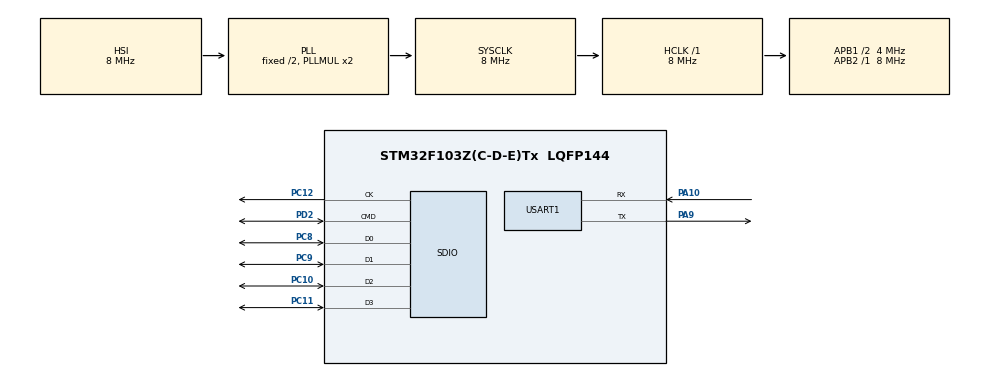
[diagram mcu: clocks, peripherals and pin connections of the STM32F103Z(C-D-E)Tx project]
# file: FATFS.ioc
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Mcu.Family=STM32F1
Mcu.Name=STM32F103Z(C-D-E)Tx
Mcu.Package=LQFP144
NVIC.PriorityGroup=NVIC_PRIORITYGROUP_4
PA10.Mode=Asynchronous
PA10.Signal=USART1_RX
PA9.Mode=Asynchronous
PA9.Signal=USART1_TX
PC10.Mode=SD_4_bits_Wide_bus
PC10.Signal=SDIO_D2
PC11.Mode=SD_4_bits_Wide_bus
PC11.Signal=SDIO_D3
PC12.Mode=SD_4_bits_Wide_bus
PC12.Signal=SDIO_CK
PC8.Mode=SD_4_bits_Wide_bus
PC8.Signal=SDIO_D0
PC9.Mode=SD_4_bits_Wide_bus
PC9.Signal=SDIO_D1
PD2.Mode=SD_4_bits_Wide_bus
PD2.Signal=SDIO_CMD
ProjectManager.HeapSize=0x400
ProjectManager.StackSize=0x800
ProjectManager.TargetToolchain=MDK-ARM V5
RCC.AHBFreq_Value=8000000
RCC.APB1CLKDivider=RCC_HCLK_DIV2
RCC.APB1Freq_Value=4000000
RCC.APB1TimFreq_Value=8000000
RCC.APB2Freq_Value=8000000
RCC.APB2TimFreq_Value=8000000
RCC.HCLKFreq_Value=8000000
RCC.SYSCLKFreq_VALUE=8000000
RCC.SYSCLKSource=RCC_SYSCLKSOURCE_PLLCLK
RCC.USBFreq_Value=8000000
SDIO.BusWide=SDIO_BUS_WIDE_1B
SDIO.ClockDiv=2
SDIO.WideMode=SDIO_BUS_WIDE_4B
VP_FATFS_VS_SDIO.Mode=SDIO
VP_SYS_VS_ND.Mode=No_Debug
board=FATFS

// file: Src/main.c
/**
  ******************************************************************************
  * File Name          : main.c
  * Description        : Main program body
  ******************************************************************************
  *
  * Copyright (c) 2016 STMicroelectronics International N.V.
  * All rights reserved.
  *
  * Redistribution and use in source and binary forms, with or without
  * modification, are permitted, provided that the following conditions are met:
  *
  * 1. Redistribution of source code must retain the above copyright notice,
  *    this list of conditions and the following disclaimer.
  * 2. Redistributions in binary form must reproduce the above copyright notice,
  *    this list of conditions and the following disclaimer in the documentation
  *    and/or other materials provided with the distribution.
  * 3. Neither the name of STMicroelectronics nor the names of other
  *    contributors to this software may be used to endorse or promote products
  *    derived from this software without specific written permission.
  * 4. This software, including modifications and/or derivative works of this
  *    software, must execute solely and exclusively on microcontroller or
  *    microprocessor devices manufactured by or for STMicroelectronics.
  * 5. Redistribution and use of this software other than as permitted under
  *    this license is void and will automatically terminate your rights under
  *    this license.
  *
  * THIS SOFTWARE IS PROVIDED BY STMICROELECTRONICS AND CONTRIBUTORS "AS IS"
  * AND ANY EXPRESS, IMPLIED OR STATUTORY WARRANTIES, INCLUDING, BUT NOT
  * LIMITED TO, THE IMPLIED WARRANTIES OF MERCHANTABILITY, FITNESS FOR A
  * PARTICULAR PURPOSE AND NON-INFRINGEMENT OF THIRD PARTY INTELLECTUAL PROPERTY
  * RIGHTS ARE DISCLAIMED TO THE FULLEST EXTENT PERMITTED BY LAW. IN NO EVENT
  * SHALL STMICROELECTRONICS OR CONTRIBUTORS BE LIABLE FOR ANY DIRECT, INDIRECT,
  * INCIDENTAL, SPECIAL, EXEMPLARY, OR CONSEQUENTIAL DAMAGES (INCLUDING, BUT NOT
  * LIMITED TO, PROCUREMENT OF SUBSTITUTE GOODS OR SERVICES; LOSS OF USE, DATA,
  * OR PROFITS; OR BUSINESS INTERRUPTION) HOWEVER CAUSED AND ON ANY THEORY OF
  * LIABILITY, WHETHER IN CONTRACT, STRICT LIABILITY, OR TORT (INCLUDING
  * NEGLIGENCE OR OTHERWISE) ARISING IN ANY WAY OUT OF THE USE OF THIS SOFTWARE,
  * EVEN IF ADVISED OF THE POSSIBILITY OF SUCH DAMAGE.
  *
  ******************************************************************************
  */
#include "main.h"
#include "stm32f1xx_hal.h"
#include "fatfs.h"
#include "sdio.h"
#include "usart.h"
#include "gpio.h"

/* USER CODE BEGIN Includes */
#include <string.h>
/* USER CODE END Includes */

/* USER CODE BEGIN PV */
/* Private variables ------------------------------------------*/
FATFS SDFatFs; /* File system object for SD card logical drive */
FIL MyFile; /* File object */
const char wtext[] = "Hello World!";
/* USER CODE END PV */

void SystemClock_Config(void);
void Error_Handler(void);

/* USER CODE BEGIN PFP */
/* Private function prototypes -----------------------------------------------*/

/* USER CODE END PFP */

int main(void)
{

  /* USER CODE BEGIN 1 */
  FRESULT res; /* FatFs function common result code */
  uint32_t byteswritten, bytesread; /* File write/read counts */
  char rtext[256]; /* File read buffer */
  /* USER CODE END 1 */

  /* MCU Configuration----------------------------------------------------------*/

  /* Reset of all peripherals, Initializes the Flash interface and the Systick. */
  HAL_Init();

  /* Configure the system clock */
  SystemClock_Config();

  /* Initialize all configured peripherals */
  MX_GPIO_Init();
  MX_USART1_UART_Init();
  MX_SDIO_SD_Init();
  MX_FATFS_Init();

  /* USER CODE BEGIN 2 */

  /*##-1- FatFS: Link the SD disk I/O driver ##*/
  if(retSD == 0){
    printf("\r\nSuccess: Link the SD disk I/O driver\r\n");

    /*##-2- Register the file system object to the FatFs module ##*/
    if(f_mount(&SDFatFs, (TCHAR const*)SD_Path, 0) != FR_OK) {
      printf("\r\nError: Register the file system object to the FatFs module\r\n");
      while(1);
    }

    /*##-3- Create a FAT file system (format) on the logical drive ##*/
    /* WARNING: Formatting the uSD card will delete all content on the device */
    if(f_mkfs((TCHAR const*)SD_Path, 0, 0) != FR_OK) {
      /* FatFs Format Error */
      printf("\r\nFormat Error.");
      while(1);
    }
    printf("\r\nSuccess: format the SD card.\r\n");

    /* Dynamic allocation is used when new file should be created. You need
       at least 512 bytes of free memory in HEAP region for malloc to allocate
       data, otherwise, f_open function will return FR_NOT_ENOUGH_CORE result. */
    /* You can change the Heap_Size and Stack_Size in startup_stm32f103xe.s
       or in STM32CubeMX (Project --> Settings --> Minimum Heap, Stack Size */
    /*##-4- Create & Open a new text file object with write access ##*/
    if(f_open(&MyFile, "Hello.txt", FA_CREATE_ALWAYS | FA_WRITE) != FR_OK) {
      printf("\r\n'Hello.txt' file Open for write Error\r\n");
      while(1);
    }

    /*##-5- Write data to the text file ##*/
    res = f_write(&MyFile, wtext, sizeof(wtext), (void *)&byteswritten);
    if((byteswritten == 0) || (res != FR_OK)){
      printf("\r\n'Hello.txt' file Write or EOF Error\r\n");
      while(1);
    }

    /*##-6- Successful open/write ##*/
    printf("\r\nSuccess: open/write a file.\r\n");
    f_close(&MyFile);

    /*##-7- Open the text file object with read access ##*/
    if(f_open(&MyFile, "Hello.txt", FA_READ) != FR_OK){
    /* 'Hello.txt' file Open for read Error */
      printf("\r\n'Hello.txt' file Open for read Error\r\n");
      while(1);
    }

    /*##-8- Read data from the text file ##*/
    res = f_read(&MyFile, rtext, sizeof(wtext), &bytesread);
    if((strcmp(rtext, wtext)!=0) || (res != FR_OK)) {
      printf("\r\n'Hello.txt' file Read or EOF Error\r\n");
      while(1);
    }

    /* Successful read */
    printf("\r\nSuccess: read the file.\r\n");

    /*##-9- Close the open text file ##*/
    f_close(&MyFile);
  }
  /*##-10- Unlink the micro SD disk I/O driver ##*/
  FATFS_UnLinkDriver(SD_Path);
  /* USER CODE END 2 */

  /* Infinite loop */
  while (1)
  {

  }

}

/** System Clock Configuration
*/
void SystemClock_Config(void)
{

  RCC_OscInitTypeDef RCC_OscInitStruct;
  RCC_ClkInitTypeDef RCC_ClkInitStruct;

    /**Initializes the CPU, AHB and APB busses clocks
    */
  RCC_OscInitStruct.OscillatorType = RCC_OSCILLATORTYPE_HSI;
  RCC_OscInitStruct.HSIState = RCC_HSI_ON;
  RCC_OscInitStruct.HSICalibrationValue = 16;
  RCC_OscInitStruct.PLL.PLLState = RCC_PLL_ON;
  RCC_OscInitStruct.PLL.PLLSource = RCC_PLLSOURCE_HSI_DIV2;
  RCC_OscInitStruct.PLL.PLLMUL = RCC_PLL_MUL2;
  if (HAL_RCC_OscConfig(&RCC_OscInitStruct) != HAL_OK)
  {
    Error_Handler();
  }

    /**Initializes the CPU, AHB and APB busses clocks
    */
  RCC_ClkInitStruct.ClockType = RCC_CLOCKTYPE_HCLK|RCC_CLOCKTYPE_SYSCLK
                              |RCC_CLOCKTYPE_PCLK1|RCC_CLOCKTYPE_PCLK2;
  RCC_ClkInitStruct.SYSCLKSource = RCC_SYSCLKSOURCE_PLLCLK;
  RCC_ClkInitStruct.AHBCLKDivider = RCC_SYSCLK_DIV1;
  RCC_ClkInitStruct.APB1CLKDivider = RCC_HCLK_DIV2;
  RCC_ClkInitStruct.APB2CLKDivider = RCC_HCLK_DIV1;

  if (HAL_RCC_ClockConfig(&RCC_ClkInitStruct, FLASH_LATENCY_0) != HAL_OK)
  {
    Error_Handler();
  }

    /**Configure the Systick interrupt time
    */
  HAL_SYSTICK_Config(HAL_RCC_GetHCLKFreq()/1000);

    /**Configure the Systick
    */
  HAL_SYSTICK_CLKSourceConfig(SYSTICK_CLKSOURCE_HCLK);

  /* SysTick_IRQn interrupt configuration */
  HAL_NVIC_SetPriority(SysTick_IRQn, 0, 0);
}

void Error_Handler(void)
{
  while(1)
  {
  }
}

/************************ (C) COPYRIGHT STMicroelectronics *****END OF FILE****/
